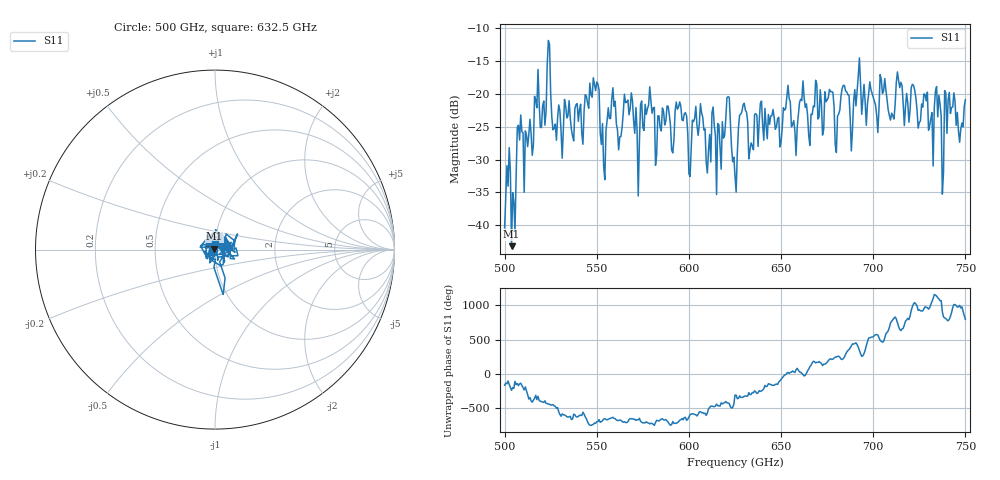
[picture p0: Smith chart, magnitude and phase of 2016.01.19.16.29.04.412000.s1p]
!Created with skrf (http://scikit-rf.org).
# GHz S RI R 50.0
!freq ReS11 ImS11
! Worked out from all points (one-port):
!   401 points, 500 GHz to 750 GHz, reference 50 ohm
!   lowest |S11| = -43.2 dB at 503.8 GHz (marker M1), VSWR 1.01, Z = 49.6 + j0.582 ohm
!   |S11| at or under -10 dB: start of sweep to end of sweep
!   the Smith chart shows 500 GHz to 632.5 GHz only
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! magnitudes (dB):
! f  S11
! 500 GHz  -40.4
! 503.8 GHz  -43.2
! 505 GHz  -36.4
! 508.1 GHz  -27.0
! 520.6 GHz  -21.8
! 523.8 GHz  -11.9
! 526.9 GHz  -25.3
! 531.2 GHz  -29.8
! 549.4 GHz  -19.5
! 553.1 GHz  -24.5
! 558.8 GHz  -19.1
! 562.5 GHz  -26.5
! 565.6 GHz  -21.4
! 571.9 GHz  -25.6
! 593.8 GHz  -22.4
! 610.6 GHz  -28.6
! 621.2 GHz  -20.5
! 625 GHz  -32.5
! 629.4 GHz  -21.7
! 633.8 GHz  -27.5
! 656.2 GHz  -24.6
! 687.5 GHz  -23.8
! 691.9 GHz  -17.4
! 718.8 GHz  -21.5
! 735 GHz  -23.5
! 738.8 GHz  -19.5
! 740 GHz  -26.0
! 750 GHz  -20.9
